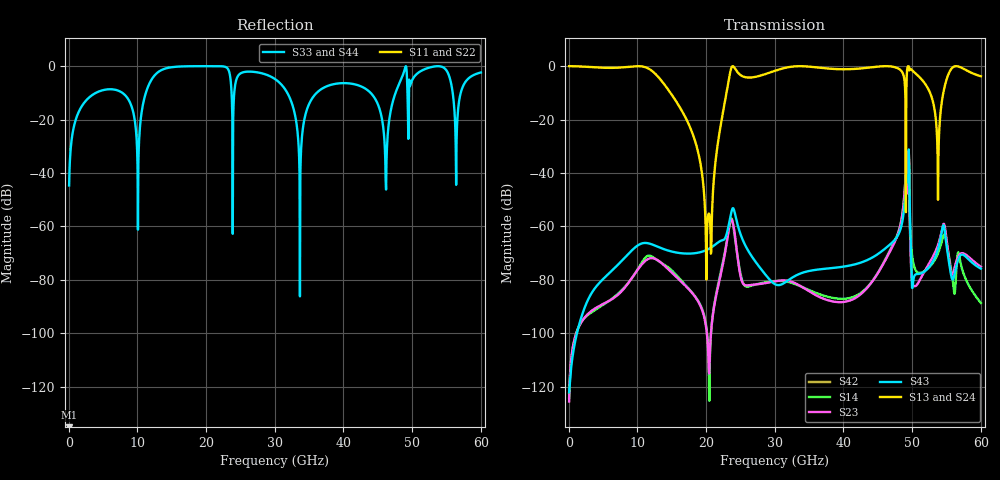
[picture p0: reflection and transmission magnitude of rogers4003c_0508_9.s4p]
! TOUCHSTONE file generated by CST MICROWAVE STUDIO
! Date and time: Wed Apr 16 11:32:55 2025
! Project name: LOSSLESS_rogers4003c_air_gapped_wideband_balanced.cst
! Parameters = {h=5; lambda=10; period=5; phi=0; theta=0; thickness=0.508; w_mesh_1=2; w_mesh_2=2; w_patch_1=1.6; w_patch_2=1.6}
! Header version: 2018
! Port assignment regex: !\s*Touchstone port\s*([0-9]+)\s*=\s*(CST MWS port|CST DS port)\s*([0-9]+|Zmin|Zmax)\s*\(\"(.*)\"\)(\s*mode\s*([0-9]+))?.*
! Touchstone port assignment:
! Touchstone port 1 = CST MWS port Zmin ("") mode 1
! Touchstone port 2 = CST MWS port Zmin ("") mode 2
! Touchstone port 3 = CST MWS port Zmax ("") mode 1
! Touchstone port 4 = CST MWS port Zmax ("") mode 2
! S-Parameters are not renormalized. Unphysical impedance of 50 will be written to the file.
# GHz S RI R 50
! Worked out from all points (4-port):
!   1002 points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, 60 MHz to 60 GHz, reference per port
!   strongest paths, dB at 60 MHz, 15 GHz, 30 GHz, 45 GHz, 60 GHz:
!     S13: 0.0, -10.7, -1.8, -0.2, -3.8
!     S24: 0.0, -10.7, -1.8, -0.2, -3.8
!     S43: -122.2, -69.4, -81.6, -70.4, -75.8
!     S23: -125.5, -77.3, -80.6, -77.5, -75.1
!     S14: -124.2, -76.4, -80.5, -77.4, -88.7
!     S42: -, -, -, -, -
!   lowest |S11| = - dB at 60 MHz (marker M1), VSWR 1.00
!   |S11| at or under -10 dB: start of sweep to end of sweep
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0.06  0 0  0 0  1 -0.00588  1.22e-07 6.02e-07
      0 0  0 0  2.51e-08 5.28e-07  1 -0.00589
      0 0  0 0  -2.59e-06 -0.00583  -1.15e-07 7.62e-07
      0 0  0 0  -1.18e-07 7.69e-07  2.04e-05 -0.00586
13.32  0 0  0 0  -0.2551 -0.5105  5.82e-05 -0.000206
       0 0  0 0  6.24e-05 -0.000206  -0.2549 -0.5111
       0 0  0 0  0.7348 -0.3665  -0.000265 -0.000297
       0 0  0 0  -0.000265 -0.000297  0.7349 -0.3654
20.16  0 0  0 0  0.00085 0.000544  -8.12e-06 -5.33e-06
       0 0  0 0  -6.63e-06 -5.44e-06  0.000836 0.000536
       0 0  0 0  0.5443 -0.8389  -0.000307 -0.0002
       0 0  0 0  -0.000307 -0.0002  0.545 -0.8384
23.88  0 0  0 0  -0.4105 0.9119  -0.00107 -0.00049
       0 0  0 0  -0.00108 -0.0005  -0.4131 0.9107
       0 0  0 0  0.000446 -0.000572  -0.00174 0.00134
       0 0  0 0  -0.00174 0.00133  -0.00112 -0.00328
49.26  0 0  0 0  0.8122 -0.2517  -0.00146 0.00826
       0 0  0 0  -0.00192 0.00889  0.8174 -0.287
       0 0  0 0  0.1324 0.5104  0.00449 0.00572
       0 0  0 0  0.00325 0.00657  0.156 0.4739
50.22  0 0  0 0  0.1553 -0.7727  0.000163 -0.000101
       0 0  0 0  3.03e-05 -7.1e-05  0.155 -0.7726
       0 0  0 0  -0.6025 -0.1206  9.18e-05 -7.31e-05
       0 0  0 0  7.07e-05 -8.11e-05  -0.6018 -0.1212
60  0 0  0 0  0.3124 -0.5666  -4.21e-06 3.66e-05
    0 0  0 0  -2.5e-05 0.000173  0.3118 -0.5666
    0 0  0 0  -0.6675 -0.3684  -0.000117 0.000122
    0 0  0 0  -0.000104 0.000124  -0.6679 -0.3683
